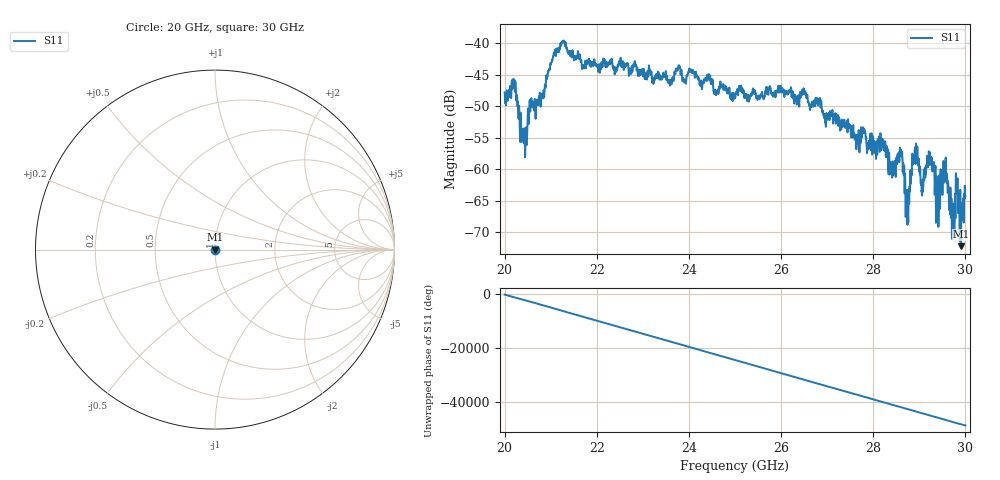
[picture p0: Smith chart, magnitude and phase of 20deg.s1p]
#  HZ  S  RI  R  50.00
! Rohde & Schwarz ZVA40 4Ports - Version 3.90 - 1145.1110k42 SN: 100403
! Date: 2023-10-03 10:28:49
! Measurement: S12
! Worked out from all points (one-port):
!   5001 points, 20 GHz to 30 GHz, reference 50 ohm
!   lowest |S11| = -72.2 dB at 29.9 GHz (marker M1), VSWR 1.00, Z = 50 + j0.00843 ohm
!   |S11| at or under -10 dB: start of sweep to end of sweep
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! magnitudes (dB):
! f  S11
! 20 GHz  -47.8
! 20.2 GHz  -46.2
! 20.37 GHz  -54.8
! 20.45 GHz  -58.0
! 20.55 GHz  -50.5
! 20.82 GHz  -48.1
! 21.05 GHz  -42.2
! 21.25 GHz  -39.9
! 21.72 GHz  -43.7
! 22.5 GHz  -43.3
! 23.58 GHz  -46.3
! 23.75 GHz  -44.1
! 25 GHz  -48.2
! 26.25 GHz  -47.6
! 27.5 GHz  -53.2
! 28.2 GHz  -56.0
! 28.4 GHz  -58.9
! 28.59 GHz  -56.9
! 28.75 GHz  -66.1
! 28.92 GHz  -56.7
! 29.06 GHz  -63.9
! 29.22 GHz  -59.0
! 29.4 GHz  -61.8
! 29.56 GHz  -61.6
! 29.71 GHz  -69.7
! 29.82 GHz  -63.4
! 29.9 GHz  -72.2
! 30 GHz  -64.3
